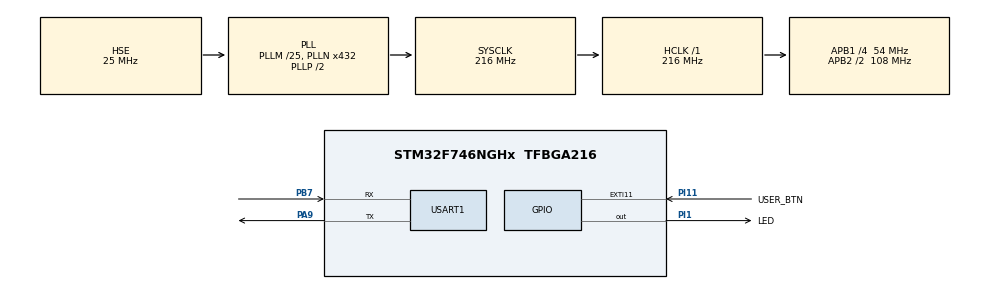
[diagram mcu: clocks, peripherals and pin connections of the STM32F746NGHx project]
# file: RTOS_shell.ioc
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FREERTOS.Tasks01=defaultTask,0,128,StartDefaultTask,Default,NULL,Dynamic,NULL,NULL
FREERTOS.configTOTAL_HEAP_SIZE=600
Mcu.Family=STM32F7
Mcu.Name=STM32F746NGHx
Mcu.Package=TFBGA216
NVIC.PriorityGroup=NVIC_PRIORITYGROUP_4
NVIC.TIM6_DAC_IRQn=true\:15\:0\:false\:false\:true\:false\:false\:true\:true
NVIC.TimeBase=TIM6_DAC_IRQn
NVIC.TimeBaseIP=TIM6
NVIC.USART1_IRQn=true\:5\:0\:true\:false\:true\:true\:true\:true\:true
PA13.Mode=Serial_Wire
PA13.Signal=SYS_JTMS-SWDIO
PA14.Mode=Serial_Wire
PA14.Signal=SYS_JTCK-SWCLK
PA9.Mode=Asynchronous
PA9.Signal=USART1_TX
PB7.Mode=Asynchronous
PB7.Signal=USART1_RX
PH0/OSC_IN.Mode=HSE-External-Oscillator
PH0/OSC_IN.Signal=RCC_OSC_IN
PH1/OSC_OUT.Mode=HSE-External-Oscillator
PH1/OSC_OUT.Signal=RCC_OSC_OUT
PI1.GPIO_Label=LED
PI1.Signal=GPIO_Output
PI11.GPIO_Label=USER_BTN
PI11.Signal=GPXTI11
ProjectManager.HeapSize=0x200
ProjectManager.StackSize=0x400
ProjectManager.TargetToolchain=STM32CubeIDE
RCC.AHBFreq_Value=216000000
RCC.APB1CLKDivider=RCC_HCLK_DIV4
RCC.APB1Freq_Value=54000000
RCC.APB1TimFreq_Value=108000000
RCC.APB2CLKDivider=RCC_HCLK_DIV2
RCC.APB2Freq_Value=108000000
RCC.APB2TimFreq_Value=216000000
RCC.CortexFreq_Value=216000000
RCC.HCLKFreq_Value=216000000
RCC.HSE_VALUE=25000000
RCC.HSI_VALUE=16000000
RCC.LSE_VALUE=32768
RCC.PLLM=25
RCC.PLLN=432
RCC.PLLSourceVirtual=RCC_PLLSOURCE_HSE
RCC.SYSCLKFreq_VALUE=216000000
RCC.SYSCLKSource=RCC_SYSCLKSOURCE_PLLCLK
RCC.USBFreq_Value=216000000
RCC.VCOOutputFreq_Value=432000000
USART1.VirtualMode-Asynchronous=VM_ASYNC
VP_FREERTOS_VS_CMSIS_V1.Mode=CMSIS_V1
VP_SYS_VS_tim6.Mode=TIM6
board=STM32F746G-DISCO

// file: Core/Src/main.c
/* USER CODE BEGIN Header */
/**
 ******************************************************************************
 * @file           : main.c
 * @brief          : Main program body
 ******************************************************************************
 * @attention
 *
 * Copyright (c) 2022 STMicroelectronics.
 * All rights reserved.
 *
 * This software is licensed under terms that can be found in the LICENSE file
 * in the root directory of this software component.
 * If no LICENSE file comes with this software, it is provided AS-IS.
 *
 ******************************************************************************
 */
/* USER CODE END Header */
#include "main.h"
#include "cmsis_os.h"
#include "usart.h"
#include "gpio.h"

/* USER CODE BEGIN Includes */
#include <stdio.h>
#include <stdlib.h>
#include "shell.h"
#include "drv_uart1.h"
/* USER CODE END Includes */

/* USER CODE BEGIN PV */
h_shell_t h_shell;
TaskHandle_t hLed;
TaskHandle_t hShell;
TaskHandle_t hb1;
TaskHandle_t hb2;
TaskHandle_t hb3;
TaskHandle_t hb4;
//TaskHandle_t hSpam;
SemaphoreHandle_t sem_led;
//SemaphoreHandle_t sem_spam;
SemaphoreHandle_t sem_uart;
char* msg_spam[1];
int nb_spam;

int delay = 100;
int led_period;

#define SHELL_STACK_SIZE 512
#define SHELL_PRIORITY 3
#define LED_STACK_SIZE 512
#define LED_PRIORITY 2
#define LED_STACK_SIZE1 512 // pour la creation de tache bidon
//#define SPAM_STACK_SIZE 1024
//#define SPAM_PRIORITY 1

/* USER CODE END PV */

void SystemClock_Config(void);
void MX_FREERTOS_Init(void);

/* USER CODE BEGIN 0 */
int __io_putchar(int ch)
{
	HAL_UART_Transmit(&huart1, (uint8_t*)&ch, 1, HAL_MAX_DELAY);

	return ch;
}

int fonction(h_shell_t * h_shell, int argc, char ** argv)
{
	int size = snprintf (h_shell->print_buffer, BUFFER_SIZE, "Je suis une fonction bidon\r\n");
	h_shell->drv.transmit(h_shell->print_buffer, size);

	return 0;
}

void task_led(void * unused){ // tache qui permet de faire clignoter la led
	if(xSemaphoreTake(sem_led,portMAX_DELAY)== pdTRUE){
		for(;;){
			if(led_period <= 0){
				HAL_GPIO_WritePin(LED_GPIO_Port, LED_Pin, RESET);
				vTaskDelay(500); // il s'agit d'une valeur arbitraire qui permet de ne pas appeler la tache toute les ms
			}
			else{
				HAL_GPIO_WritePin(LED_GPIO_Port, LED_Pin, SET);
				vTaskDelay(led_period);
				HAL_GPIO_WritePin(LED_GPIO_Port, LED_Pin, RESET);
				vTaskDelay(led_period);
			}
		}
	}
}

// pour la creation de tache bidon
void task_b1(void * unused){ // tache qui permet de faire clignoter la led

}
void task_b2(void * unused){ // tache qui permet de faire clignoter la led

}
void task_b3(void * unused){ // tache qui permet de faire clignoter la led

}
void task_b4(void * unused){ // tache qui permet de faire clignoter la led

}

int led(h_shell_t * h_shell, int argc, char ** argv) // fonction qui appelle la tache qui fait clignoter la led, et renvoie l'état sur le shell
{
	if (argc != 2){
		int size = snprintf (h_shell->print_buffer, BUFFER_SIZE, "ERROR y a pas le bon nb\r\n");
		h_shell->drv.transmit(h_shell->print_buffer, size);

		return -1;
	}

	else {
		led_period = atoi(argv[1]);
		xSemaphoreGive(sem_led);
		if(led_period > 0){
			int size = snprintf (h_shell->print_buffer, BUFFER_SIZE, "led clignote a une periode de %d ms\r\n", led_period);
			h_shell->drv.transmit(h_shell->print_buffer, size);
		}
		else {
			int size = snprintf (h_shell->print_buffer, BUFFER_SIZE, "la led est eteinte\r\n");
			h_shell->drv.transmit(h_shell->print_buffer, size);
		}
	}
	return 0;
}

//void task_spam( void * pvParameters){
//	h_shell_t * hshell = &h_shell;
//	if(xSemaphoreTake(sem_spam,portMAX_DELAY)== pdTRUE){
//		for(int i = 0; i < nb_spam; i++){
//			int size = snprintf (hshell->print_buffer, BUFFER_SIZE, "%s\r\n", msg_spam[0]);
//			hshell->drv.transmit(hshell->print_buffer, size);
//		}
//	}
//}
//
//int spam(h_shell_t * h_shell, int argc, char ** argv) {
//	if (argc != 3){
//		int size = snprintf (h_shell->print_buffer, BUFFER_SIZE, "ERROR y a pas le bon nb\r\n");
//		h_shell->drv.transmit(h_shell->print_buffer, size);
//
//		return -1;
//	}
//	else {
//		msg_spam[0] = argv[1];
//		nb_spam = atoi(argv[2]);
//		xSemaphoreGive(sem_spam);
//	}
//	return 0;
//}

void task_shell(void * unused){ // tache qui gère le shell
	shell_init(&h_shell);
	shell_add(&h_shell, 'f', fonction, "Une fonction inutile");
	shell_add(&h_shell, 'l', led,"clignotement de la led");
	//shell_add(&h_shell, 's', spam,"spam");
	shell_run(&h_shell);
}
/* USER CODE END 0 */

int main(void)
{

  /* MCU Configuration--------------------------------------------------------*/

  /* Reset of all peripherals, Initializes the Flash interface and the Systick. */
  HAL_Init();

  /* Configure the system clock */
  SystemClock_Config();

  /* Initialize all configured peripherals */
  MX_GPIO_Init();
  MX_USART1_UART_Init();
  /* USER CODE BEGIN 2 */
	h_shell.drv.receive = drv_uart1_receive;
	h_shell.drv.transmit = drv_uart1_transmit;
	sem_led = xSemaphoreCreateBinary();
	sem_uart = xSemaphoreCreateBinary();
	//sem_spam = xSemaphoreCreateBinary();
	BaseType_t ret;

	ret=xTaskCreate(task_shell, "SHELL", SHELL_STACK_SIZE, NULL, SHELL_PRIORITY, &hShell);
	configASSERT(ret == pdPASS);

	ret=xTaskCreate(task_led, "LED", LED_STACK_SIZE, NULL, LED_PRIORITY, &hLed);
	configASSERT(ret == pdPASS);

//	ret=xTaskCreate(task_spam, "SPAM", SPAM_STACK_SIZE, (void * ) 1, SPAM_PRIORITY, &hSpam);
//	configASSERT(ret == pdPASS);

	// creation de taches bidons
	ret=xTaskCreate(task_b1, "B1", LED_STACK_SIZE1, NULL, LED_PRIORITY, &hb1);
	configASSERT(ret == pdPASS);
	ret=xTaskCreate(task_b2, "B2", LED_STACK_SIZE1, NULL, LED_PRIORITY, &hb2);
	configASSERT(ret == pdPASS);
	ret=xTaskCreate(task_b3, "B3", LED_STACK_SIZE1, NULL, LED_PRIORITY, &hb3);
	configASSERT(ret == pdPASS);
	ret=xTaskCreate(task_b4, "B4", LED_STACK_SIZE1, NULL, LED_PRIORITY, &hb4);
	configASSERT(ret == pdPASS);

  /* USER CODE END 2 */

  /* Call init function for freertos objects (in freertos.c) */
  MX_FREERTOS_Init();

  /* Start scheduler */
  osKernelStart();

  /* We should never get here as control is now taken by the scheduler */
  /* Infinite loop */
	while (1)
	{

	}
}

void SystemClock_Config(void)
{
  RCC_OscInitTypeDef RCC_OscInitStruct = {0};
  RCC_ClkInitTypeDef RCC_ClkInitStruct = {0};

  /** Configure the main internal regulator output voltage
  */
  __HAL_RCC_PWR_CLK_ENABLE();
  __HAL_PWR_VOLTAGESCALING_CONFIG(PWR_REGULATOR_VOLTAGE_SCALE1);

  /** Initializes the RCC Oscillators according to the specified parameters
  * in the RCC_OscInitTypeDef structure.
  */
  RCC_OscInitStruct.OscillatorType = RCC_OSCILLATORTYPE_HSE;
  RCC_OscInitStruct.HSEState = RCC_HSE_ON;
  RCC_OscInitStruct.PLL.PLLState = RCC_PLL_ON;
  RCC_OscInitStruct.PLL.PLLSource = RCC_PLLSOURCE_HSE;
  RCC_OscInitStruct.PLL.PLLM = 25;
  RCC_OscInitStruct.PLL.PLLN = 432;
  RCC_OscInitStruct.PLL.PLLP = RCC_PLLP_DIV2;
  RCC_OscInitStruct.PLL.PLLQ = 2;
  if (HAL_RCC_OscConfig(&RCC_OscInitStruct) != HAL_OK)
  {
    Error_Handler();
  }

  /** Activate the Over-Drive mode
  */
  if (HAL_PWREx_EnableOverDrive() != HAL_OK)
  {
    Error_Handler();
  }

  /** Initializes the CPU, AHB and APB buses clocks
  */
  RCC_ClkInitStruct.ClockType = RCC_CLOCKTYPE_HCLK|RCC_CLOCKTYPE_SYSCLK
                              |RCC_CLOCKTYPE_PCLK1|RCC_CLOCKTYPE_PCLK2;
  RCC_ClkInitStruct.SYSCLKSource = RCC_SYSCLKSOURCE_PLLCLK;
  RCC_ClkInitStruct.AHBCLKDivider = RCC_SYSCLK_DIV1;
  RCC_ClkInitStruct.APB1CLKDivider = RCC_HCLK_DIV4;
  RCC_ClkInitStruct.APB2CLKDivider = RCC_HCLK_DIV2;

  if (HAL_RCC_ClockConfig(&RCC_ClkInitStruct, FLASH_LATENCY_7) != HAL_OK)
  {
    Error_Handler();
  }
}

void HAL_TIM_PeriodElapsedCallback(TIM_HandleTypeDef *htim)
{
  if (htim->Instance == TIM6) {
    HAL_IncTick();
  }
}

void Error_Handler(void)
{
	__disable_irq();
	while (1)
	{
	}
}
